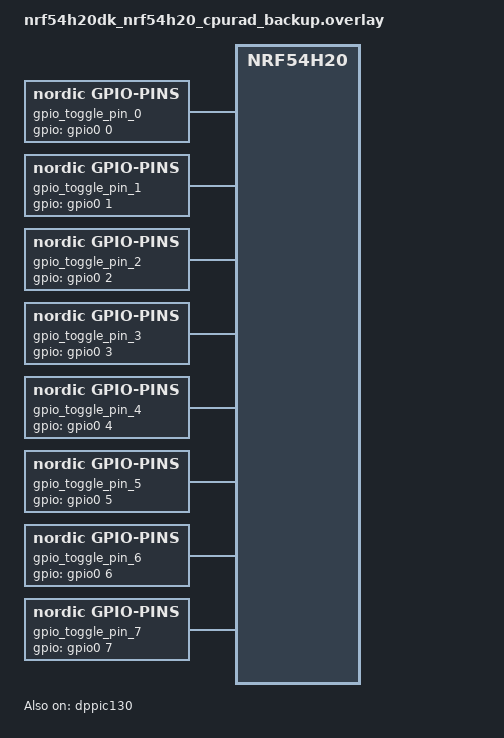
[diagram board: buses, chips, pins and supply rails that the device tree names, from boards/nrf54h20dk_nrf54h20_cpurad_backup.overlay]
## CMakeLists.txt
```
#
# Copyright (c) 2023 Nordic Semiconductor
#
# SPDX-License-Identifier: LicenseRef-Nordic-5-Clause
#

cmake_minimum_required(VERSION 3.20.0)

find_package(Zephyr REQUIRED HINTS $ENV{ZEPHYR_BASE})
project(ipc_radio)

target_include_directories(app PRIVATE ./src)

target_sources_ifdef(CONFIG_IPC_RADIO_802154 app PRIVATE src/802154.c)

if(CONFIG_IPC_RADIO_BT_HCI_IPC)
  target_sources(app PRIVATE src/bt_hci_ipc.c)

  # The fault injection hook is kept with the test that uses it so that it cannot end up in
  # a production image by accident.
  target_sources_ifdef(CONFIG_IPC_RADIO_FATAL_ERROR_TEST_HOOK app PRIVATE
    ${ZEPHYR_NRF_MODULE_DIR}/tests/bluetooth/hci_vs_fatal_error/src/fatal_error_test_hook.c
  )
  target_include_directories_ifdef(CONFIG_IPC_RADIO_FATAL_ERROR_TEST_HOOK app PRIVATE
    ${ZEPHYR_NRF_MODULE_DIR}/tests/bluetooth/hci_vs_fatal_error/src
  )
else()
  target_sources(app PRIVATE src/bt_empty.c)
endif()

# NORDIC SDK APP START
target_sources(app PRIVATE
  src/main.c
)
# NORDIC SDK APP END
```

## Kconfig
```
#
# Copyright (c) 2023 Nordic Semiconductor
#
# SPDX-License-Identifier: LicenseRef-Nordic-5-Clause
#

mainmenu "Nordic ipc_radio firmware"

config IPC_RADIO_802154
	bool "IPC IEEE 802.15.4 radio"
	select NRF_802154_SER_RADIO
	help
	  Enable the IPC IEEE 802.15.4 radio serialization.

config IPC_RADIO_BT
	bool "IPC Bluetooth"
	help
	  Enable the IPC Bluetooth radio serialization.

if IPC_RADIO_BT

choice IPC_RADIO_BT_SER
	default IPC_RADIO_BT_HCI_IPC
	prompt "Bluetooth serialization type"
	help
	  Type of the IPC Bluetooth radio serialization used.

config IPC_RADIO_BT_HCI_IPC
	bool "Bluetooth HCI serialization"
	depends on IPC_SERVICE
	depends on IPC_SERVICE_BACKEND_ICBMSG || IPC_SERVICE_BACKEND_RPMSG
	depends on BT_HCI_RAW
	help
	  Use Bluetooth HCI serialization over ipc_service.

config IPC_RADIO_BT_RPC
	bool "Bluetooth host API serialization over RPC"
	depends on BT_RPC_HOST
	help
	  Use nRF RPC serialization for Bluetooth.

endchoice # IPC_RADIO_BT_SER

if IPC_RADIO_BT_HCI_IPC

config QUEUE_THREAD_STACK_SIZE
	int "Queue thread stack size"
	default 512
	help
	  Stack size for the queue thread.

config QUEUE_THREAD_PRIO
	int "Queue thread priority"
	default 7
	help
	  Priority for the queue thread.

config IPC_RADIO_FATAL_ERROR_TEST_HOOK
	bool "Fatal error test hook"
	depends on IRQ_OFFLOAD
	help
	  Implement a Vendor Specific HCI command that raises a fatal error in the requested
	  execution context. It is meant for the tests of the fatal error reporting and must
	  never be enabled in a production image. Raising the fatal error from an interrupt
	  context relies on irq_offload(), so the image also has to be marked as a test with
	  the TEST Kconfig option.

if IPC_RADIO_FATAL_ERROR_TEST_HOOK

config IPC_RADIO_FATAL_ERROR_TEST_HOOK_ZLI
	bool "Fatal error test hook zero latency interrupt context"
	default y
	depends on ZERO_LATENCY_IRQS
	depends on SOC_COMPATIBLE_NRF53X || SOC_SERIES_NRF54H
	help
	  Allow injecting the fatal error from a zero-latency interrupt context.

config IPC_RADIO_FATAL_ERROR_TEST_HOOK_ZLI_IRQN
	int "Zero latency interrupt line used by the fatal error test hook"
	depends on IPC_RADIO_FATAL_ERROR_TEST_HOOK_ZLI
	default 27 if SOC_COMPATIBLE_NRF53X # SWI1
	default 89 if SOC_SERIES_NRF54H # SWI1
	help
	  Software interrupt line used to raise the fatal error from a zero-latency interrupt
	  context. It must not be used by any other component, in particular not by the
	  MPSL_LOW_PRIO_IRQN interrupt line.

endif # IPC_RADIO_FATAL_ERROR_TEST_HOOK

endif # IPC_RADIO_BT_HCI_IPC

config SETTINGS
	imply ZMS if SOC_FLASH_NRF_MRAM
	imply NVS if !SOC_FLASH_NRF_MRAM

config BT_MAX_CONN
	default 4 if IPC_RADIO_802154
	default 16 if !IPC_RADIO_802154

endif # IPC_RADIO_BT

module = IPC_RADIO
module-str = "ipc_radio"
source "$(ZEPHYR_BASE)/subsys/logging/Kconfig.template.log_config"

source "Kconfig.zephyr"
```

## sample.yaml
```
sample:
  name: IPC radio firmware
  description: IPC radio firmware application
tests:
  applications.ipc_radio.hci:
    sysbuild: true
    build_only: true
    platform_allow:
      - nrf5340dk/nrf5340/cpunet
      - thingy53/nrf5340/cpunet
    tags:
      - bluetooth
      - ci_build
      - sysbuild
      - ci_applications_ipc_radio
    integration_platforms:
      - nrf5340dk/nrf5340/cpunet
      - thingy53/nrf5340/cpunet
    extra_args: EXTRA_CONF_FILE=bt_hci_ipc.conf
  applications.ipc_radio.hci.sysbuild:
    sysbuild: true
    build_only: true
    platform_allow:
      - nrf5340dk/nrf5340/cpunet
      - thingy53/nrf5340/cpunet
    tags:
      - bluetooth
      - ci_build
      - ci_applications_ipc_radio
    integration_platforms:
      - nrf5340dk/nrf5340/cpunet
      - thingy53/nrf5340/cpunet
    extra_args: EXTRA_CONF_FILE=bt_hci_ipc.conf
  applications.ipc_radio.hci.nrf54h.sysbuild:
    sysbuild: true
    build_only: true
    platform_allow: nrf54h20dk/nrf54h20/cpurad
    tags:
      - bluetooth
      - ci_build
      - ci_applications_ipc_radio
    integration_platforms:
      - nrf54h20dk/nrf54h20/cpurad
    extra_args: EXTRA_CONF_FILE=bt_hci_ipc.conf
  applications.ipc_radio.rpc:
    sysbuild: true
    build_only: true
    platform_allow:
      - nrf5340dk/nrf5340/cpunet
      - thingy53/nrf5340/cpunet
    tags:
      - bluetooth
      - ci_build
      - sysbuild
      - ci_applications_ipc_radio
    integration_platforms:
      - nrf5340dk/nrf5340/cpunet
      - thingy53/nrf5340/cpunet
    extra_args: EXTRA_CONF_FILE=bt_rpc.conf
  applications.ipc_radio.rpc.sysbuild:
    sysbuild: true
    build_only: true
    platform_allow:
      - nrf5340dk/nrf5340/cpunet
      - thingy53/nrf5340/cpunet
    tags:
      - bluetooth
      - ci_build
      - ci_applications_ipc_radio
    integration_platforms:
      - nrf5340dk/nrf5340/cpunet
      - thingy53/nrf5340/cpunet
    extra_args: EXTRA_CONF_FILE=bt_rpc.conf
  applications.ipc_radio.rpc.nrf54h.sysbuild:
    sysbuild: true
    build_only: true
    platform_allow: nrf54h20dk/nrf54h20/cpurad
    tags:
      - bluetooth
      - ci_build
      - ci_applications_ipc_radio
    integration_platforms:
      - nrf54h20dk/nrf54h20/cpurad
    extra_args: EXTRA_CONF_FILE=bt_rpc.conf
  applications.ipc_radio.802154:
    sysbuild: true
    build_only: true
    platform_allow:
      - nrf5340dk/nrf5340/cpunet
      - thingy53/nrf5340/cpunet
    tags:
      - ci_build
      - sysbuild
      - ci_applications_ipc_radio
    integration_platforms:
      - nrf5340dk/nrf5340/cpunet
      - thingy53/nrf5340/cpunet
    extra_args: EXTRA_CONF_FILE=802154.conf
  applications.ipc_radio.802154.sysbuild:
    sysbuild: true
    build_only: true
    platform_allow:
      - nrf5340dk/nrf5340/cpunet
      - thingy53/nrf5340/cpunet
    tags:
      - ci_build
      - ci_applications_ipc_radio
    integration_platforms:
      - nrf5340dk/nrf5340/cpunet
      - thingy53/nrf5340/cpunet
    extra_args: EXTRA_CONF_FILE=802154.conf
  applications.ipc_radio.hci802154:
    sysbuild: true
    build_only: true
    platform_allow:
      - nrf5340dk/nrf5340/cpunet
      - thingy53/nrf5340/cpunet
    tags:
      - bluetooth
      - ci_build
      - sysbuild
      - ci_applications_ipc_radio
    integration_platforms:
      - nrf5340dk/nrf5340/cpunet
      - thingy53/nrf5340/cpunet
    extra_args: EXTRA_CONF_FILE="bt_hci_ipc.conf;802154.conf"
  applications.ipc_radio.hci802154.sysbuild:
    sysbuild: true
    build_only: true
    platform_allow:
      - nrf5340dk/nrf5340/cpunet
      - thingy53/nrf5340/cpunet
    tags:
      - bluetooth
      - ci_build
      - ci_applications_ipc_radio
    integration_platforms:
      - nrf5340dk/nrf5340/cpunet
      - thingy53/nrf5340/cpunet
    extra_args: EXTRA_CONF_FILE="bt_hci_ipc.conf;802154.conf"
```

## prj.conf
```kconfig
#
# Copyright (c) 2023 Nordic Semiconductor
#
# SPDX-License-Identifier: LicenseRef-Nordic-5-Clause
#

CONFIG_SERIAL=n
CONFIG_UART_CONSOLE=n
CONFIG_LOG=n
CONFIG_TIMESLICE_SIZE=0

# Enable old clock_control_nrf api implementation for mpsl to use
CONFIG_CLOCK_CONTROL_NRF=y
```

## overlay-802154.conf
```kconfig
#
# Copyright (c) 2023 Nordic Semiconductor
#
# SPDX-License-Identifier: LicenseRef-Nordic-5-Clause
#

CONFIG_NRF_802154_SER_RADIO=y
CONFIG_NRF_RTC_TIMER_USER_CHAN_COUNT=2

CONFIG_IPC_RADIO_802154=y
```

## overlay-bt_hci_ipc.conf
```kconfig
#
# Copyright (c) 2023 Nordic Semiconductor
#
# SPDX-License-Identifier: LicenseRef-Nordic-5-Clause
#

CONFIG_HEAP_MEM_POOL_SIZE=8192
CONFIG_MAIN_STACK_SIZE=2048
CONFIG_SYSTEM_WORKQUEUE_STACK_SIZE=2048

CONFIG_MBOX=y
CONFIG_IPC_SERVICE=y

CONFIG_BT=y
CONFIG_BT_HCI_RAW=y
CONFIG_BT_CTLR_ASSERT_HANDLER=y

CONFIG_ASSERT=y

CONFIG_IPC_RADIO_BT=y
CONFIG_IPC_RADIO_BT_HCI_IPC=y
```

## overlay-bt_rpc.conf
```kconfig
#
# Copyright (c) 2023 Nordic Semiconductor
#
# SPDX-License-Identifier: LicenseRef-Nordic-5-Clause
#

CONFIG_HEAP_MEM_POOL_SIZE=4096
CONFIG_NRF_RPC_THREAD_STACK_SIZE=4096
CONFIG_SYSTEM_WORKQUEUE_STACK_SIZE=4096

CONFIG_BT=y
CONFIG_BT_RPC=y
CONFIG_BT_RPC_HOST=y

# Host side registers all GATT services using dynamic database
CONFIG_BT_GATT_DYNAMIC_DB=y

# Enable bonding
CONFIG_BT_SMP=y
CONFIG_BT_SETTINGS=y
CONFIG_FLASH=y
CONFIG_FLASH_PAGE_LAYOUT=y
CONFIG_FLASH_MAP=y
CONFIG_SETTINGS=y

CONFIG_IPC_RADIO_BT=y
CONFIG_IPC_RADIO_BT_RPC=y
```

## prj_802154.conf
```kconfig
#
# Copyright (c) 2024 Nordic Semiconductor
#
# SPDX-License-Identifier: LicenseRef-Nordic-5-Clause
#

CONFIG_SERIAL=n
CONFIG_UART_CONSOLE=n
CONFIG_LOG=n

CONFIG_NRF_802154_SER_RADIO=y
CONFIG_NRF_RTC_TIMER_USER_CHAN_COUNT=2

CONFIG_IPC_RADIO_802154=y
```

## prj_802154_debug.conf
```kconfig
#
# Copyright (c) 2024 Nordic Semiconductor
#
# SPDX-License-Identifier: LicenseRef-Nordic-5-Clause
#

CONFIG_SERIAL=y
CONFIG_UART_CONSOLE=y
CONFIG_LOG=y

CONFIG_ASSERT=y
CONFIG_DEBUG_INFO=y
CONFIG_EXCEPTION_STACK_TRACE=y

CONFIG_NRF_802154_SER_RADIO=y
CONFIG_NRF_RTC_TIMER_USER_CHAN_COUNT=2

CONFIG_IPC_RADIO_802154=y
```

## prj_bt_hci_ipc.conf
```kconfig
#
# Copyright (c) 2024 Nordic Semiconductor
#
# SPDX-License-Identifier: LicenseRef-Nordic-5-Clause
#

# After any changes in this file update the prj.conf file with identical changes.

CONFIG_HEAP_MEM_POOL_SIZE=8192
CONFIG_MAIN_STACK_SIZE=512
CONFIG_SYSTEM_WORKQUEUE_STACK_SIZE=512

CONFIG_SERIAL=n
CONFIG_UART_CONSOLE=n
CONFIG_LOG=n

CONFIG_MBOX=y
CONFIG_IPC_SERVICE=y

CONFIG_BT=y
CONFIG_BT_HCI_RAW=y
CONFIG_BT_MAX_CONN=16
CONFIG_BT_CTLR_ASSERT_HANDLER=y

CONFIG_IPC_RADIO_BT=y
CONFIG_IPC_RADIO_BT_HCI_IPC=y
```

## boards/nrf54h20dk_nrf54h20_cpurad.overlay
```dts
/*
 * Copyright (c) 2025 Nordic Semiconductor ASA
 *
 * SPDX-License-Identifier: LicenseRef-Nordic-5-Clause
 */

&lfclk {
	status = "okay";
};
```

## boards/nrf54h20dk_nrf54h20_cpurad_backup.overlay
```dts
/* Use dummy GPIO pins entries to allocate the pins to Radio domain.
 *
 * Note: this allocation has to mach to DBPX_PIN macros.
 */
 / {
	gpio_toggle_pin_0: gpio-toggle-pin-0 {
		compatible = "nordic,gpio-pins";
		gpios = <&gpio0 0 GPIO_ACTIVE_HIGH>;
		status = "okay";
	};

	gpio_toggle_pin_1: gpio-toggle-pin-1 {
		compatible = "nordic,gpio-pins";
		gpios = <&gpio0 1 GPIO_ACTIVE_HIGH>;
		status = "okay";
	};

	gpio_toggle_pin_2: gpio-toggle-pin-2 {
		compatible = "nordic,gpio-pins";
		gpios = <&gpio0 2 GPIO_ACTIVE_HIGH>;
		status = "okay";
	};

	gpio_toggle_pin_3: gpio-toggle-pin-3 {
		compatible = "nordic,gpio-pins";
		gpios = <&gpio0 3 GPIO_ACTIVE_HIGH>;
		status = "okay";
	};

	gpio_toggle_pin_4: gpio-toggle-pin-4 {
		compatible = "nordic,gpio-pins";
		gpios = <&gpio0 4 GPIO_ACTIVE_HIGH>;
		status = "okay";
	};

	gpio_toggle_pin_5: gpio-toggle-pin-5 {
		compatible = "nordic,gpio-pins";
		gpios = <&gpio0 5 GPIO_ACTIVE_HIGH>;
		status = "okay";
	};

	gpio_toggle_pin_6: gpio-toggle-pin-6 {
		compatible = "nordic,gpio-pins";
		gpios = <&gpio0 6 GPIO_ACTIVE_HIGH>;
		status = "okay";
	};

	gpio_toggle_pin_7: gpio-toggle-pin-7 {
		compatible = "nordic,gpio-pins";
		gpios = <&gpio0 7 GPIO_ACTIVE_HIGH>;
		status = "okay";
	};

	// gpio_toggle_pin_8: gpio-toggle-pin-8 {
	// 	compatible = "nordic,gpio-pins";
	// 	gpios = <&gpio1 1 GPIO_ACTIVE_HIGH>;
	// 	status = "okay";
	// };

	// gpio_toggle_pin_9: gpio-toggle-pin-9 {
	// 	compatible = "nordic,gpio-pins";
	// 	gpios = <&gpio1 2 GPIO_ACTIVE_HIGH>;
	// 	status = "okay";
	// };

	// gpio_toggle_pin_10: gpio-toggle-pin-10 {
	// 	compatible = "nordic,gpio-pins";
	// 	gpios = <&gpio1 3 GPIO_ACTIVE_HIGH>;
	// 	status = "okay";
	// };

	// gpio_toggle_pin_11: gpio-toggle-pin-11 {
	// 	compatible = "nordic,gpio-pins";
	// 	gpios = <&gpio1 7 GPIO_ACTIVE_HIGH>;
	// 	status = "okay";
	// };

	// gpio_toggle_pin_12: gpio-toggle-pin-12 {
	// 	compatible = "nordic,gpio-pins";
	// 	gpios = <&gpio1 8 GPIO_ACTIVE_HIGH>;
	// 	status = "okay";
	// };

	// gpio_toggle_pin_13: gpio-toggle-pin-13 {
	// 	compatible = "nordic,gpio-pins";
	// 	gpios = <&gpio1 9 GPIO_ACTIVE_HIGH>;
	// 	status = "okay";
	// };

	// gpio_toggle_pin_14: gpio-toggle-pin-14 {
	// 	compatible = "nordic,gpio-pins";
	// 	gpios = <&gpio1 10 GPIO_ACTIVE_HIGH>;
	// 	status = "okay";
	// };

	// gpio_toggle_pin_15: gpio-toggle-pin-15 {
	// 	compatible = "nordic,gpio-pins";
	// 	gpios = <&gpio1 11 GPIO_ACTIVE_HIGH>;
	// 	status = "okay";
	// };
};

&dppic130 {
	owned-channels = <0 1 2 3>;
	owned-channel-groups = <0 1>;
	status = "okay";
};

/* IPCT130 in Global domain and IPCT in Radio domain are used to create IPCTMAP entry.
 * That means channels: source and sink create pairs that are applied by Secure Domain FW on boot.
 * These entries has to be provided to pin_transport_debug by calls: debug_allow_ipct_channel
 * and debug_allow_global_channel.
 *
 * Note: Channel 0 in IPCT in Radio domai is used by GRTC to deliver the GRTC events to Radio
 *       domain. It is setup as sink-channel-link in common NCS DTS file.
 */
&cpurad_ipct {
	source-channel-links = <1 13 1
				2 13 2
				3 13 3>;
};

/* Note: IPCT130 in Global domain channel 0 is used by GRTC to deliver the GRTC events to Radio
 *       domain. It is setup as source-channel-link in common NCS DTS file.
 */
&ipct130 {
	status = "okay";
	owned-channels = <0 1 2 3>;
	sink-channel-links = <1 3 1
			      2 3 2
			      3 3 3>;
};

/* Example of GPIOTE channels allocation for Radio core.
 *
 * Note: By default all GPIOTE130 channels are allocated to APP Core.
 *       To use some of them in Radio domain you have to change the allocation
 *       in APP core DTS file.
 */
&gpiote130 {
	status = "okay";
	owned-channels = <0 1 2 3>;
};

&uart135 {
	status = "disabled";
};
```

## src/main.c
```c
/*
 * Copyright (c) 2023 Nordic Semiconductor ASA
 *
 * SPDX-License-Identifier: LicenseRef-Nordic-5-Clause
 */

#include <errno.h>
#include <zephyr/kernel.h>
#include <zephyr/logging/log.h>

#include "ipc_bt.h"

LOG_MODULE_REGISTER(ipc_radio, CONFIG_IPC_RADIO_LOG_LEVEL);

#if !(CONFIG_IPC_RADIO_802154 || CONFIG_IPC_RADIO_BT)
#error "No radio serialization selected."
#endif

int main(void)
{
	int err;

	err = ipc_bt_init();
	if ((err) && (err != -ENOSYS)) {
		LOG_ERR("Error initializing ipc radio %d", err);
		return err;
	}

#if IS_ENABLED(CONFIG_SERIAL)
	printk("IPC initialized\n");
#endif
	for (;;) {
		err = ipc_bt_process();

		if (err == -ENOSYS) {
			/* Particular implementation does not need the process function */
			return 0;
		} else if (err) {
			LOG_ERR("Error processing ipc radio %d", err);

			return err;
		}

#if IS_ENABLED(CONFIG_SERIAL)
		printk("IPC loop\n");
#endif
	}
}
```

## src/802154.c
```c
/*
 * Copyright (c) 2023 Nordic Semiconductor ASA
 *
 * SPDX-License-Identifier: LicenseRef-Nordic-5-Clause
 */

#include <stddef.h>
#include <zephyr/kernel.h>
#include <nrf_802154_serialization_error.h>

void nrf_802154_serialization_error(const nrf_802154_ser_err_data_t *err)
{
	ARG_UNUSED(err);
	__ASSERT(false, "802.15.4 serialization error");
	k_oops();
}

void nrf_802154_sl_fault_handler(uint32_t id, int32_t line, const char *err)
{
	__ASSERT(false, "module_id: %u, line: %d, %s", id, line, err);
	k_oops();
}
```

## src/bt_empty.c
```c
/*
 * Copyright (c) 2023 Nordic Semiconductor ASA
 *
 * SPDX-License-Identifier: LicenseRef-Nordic-5-Clause
 */

#include <errno.h>
#include <zephyr/logging/log.h>

#include "ipc_bt.h"

LOG_MODULE_DECLARE(ipc_radio, CONFIG_IPC_RADIO_LOG_LEVEL);

int ipc_bt_init(void)
{
	LOG_DBG("Empty ipc_bt_init called.");
	return -ENOSYS;
}

int ipc_bt_process(void)
{
	LOG_DBG("Empty ipc_bt_process called.");
	return -ENOSYS;
}
```

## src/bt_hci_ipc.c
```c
/*
 * Copyright (c) 2023 Nordic Semiconductor ASA
 *
 * SPDX-License-Identifier: LicenseRef-Nordic-5-Clause
 */

#include <errno.h>
#include <stddef.h>
#include <stdio.h>

#include <zephyr/kernel.h>
#include <zephyr/device.h>

#include <zephyr/sys/byteorder.h>
#include <zephyr/sys/util.h>
#include <zephyr/net_buf.h>

#include <zephyr/bluetooth/bluetooth.h>
#include <zephyr/bluetooth/l2cap.h>
#include <zephyr/bluetooth/hci.h>
#include <zephyr/bluetooth/buf.h>
#include <zephyr/bluetooth/hci_raw.h>

#include <zephyr/ipc/ipc_service.h>

#if defined(CONFIG_BT_HCI_VS_FATAL_ERROR)
#include <zephyr/logging/log_ctrl.h>
#endif /* CONFIG_BT_HCI_VS_FATAL_ERROR */

#include <zephyr/logging/log.h>

#include "ipc_bt.h"

#if DT_NODE_HAS_COMPAT(DT_CHOSEN(zephyr_bt_hci_ipc), zephyr_ipc_openamp_static_vrings)
#include <openamp/rpmsg_virtio.h>
#define IPC_BUF_SIZE DT_PROP_OR(DT_CHOSEN(zephyr_bt_hci_ipc), zephyr_buffer_size, RPMSG_BUFFER_SIZE)
#define IPC_MEM_SIZE (DT_REG_SIZE(DT_PHANDLE(DT_CHOSEN(zephyr_bt_hci_ipc), memory_region)) / 2)
#define MAX_IPC_BLOCKS DIV_ROUND_UP(IPC_MEM_SIZE, IPC_BUF_SIZE)
#elif DT_NODE_HAS_COMPAT(DT_CHOSEN(zephyr_bt_hci_ipc), zephyr_ipc_icbmsg)
#define MAX_IPC_BLOCKS DT_PROP(DT_CHOSEN(zephyr_bt_hci_ipc), rx_blocks)
#else
#error "IPC backends other than rpmsg or icbmsg are not supported."
#endif

LOG_MODULE_DECLARE(ipc_radio, CONFIG_IPC_RADIO_LOG_LEVEL);

#if defined(CONFIG_BT_CTLR_ASSERT_HANDLER) || defined(CONFIG_BT_HCI_VS_FATAL_ERROR)
static bool ipc_ept_ready;
#endif /* CONFIG_BT_CTLR_ASSERT_HANDLER || CONFIG_BT_HCI_VS_FATAL_ERROR */

static K_SEM_DEFINE(ipc_bound_sem, 0, 1);

static const struct device *m_hci_ipc_instance;

static struct ipc_ept hci_ept;

#if defined(CONFIG_IPC_SERVICE_BACKEND_ICBMSG_DEINIT)
static void hci_unbound_work_handler(struct k_work *work);
static int ipc_hci_ipc_rebind(void);

static K_WORK_DEFINE(m_hci_unbound_work, hci_unbound_work_handler);
#endif /* CONFIG_IPC_SERVICE_BACKEND_ICBMSG_DEINIT */

struct ipc_block_item {
	const void *ptr;
	size_t len;
};

K_MSGQ_DEFINE(ipc_block_queue, sizeof(struct ipc_block_item), MAX_IPC_BLOCKS, sizeof(void *));

static K_FIFO_DEFINE(tx_queue);
static K_FIFO_DEFINE(rx_queue);

enum hci_h4_type {
	HCI_H4_CMD = 0x01, /* rx */
	HCI_H4_ACL = 0x02, /* rx */
	HCI_H4_EVT = 0x04, /* tx */
	HCI_H4_ISO = 0x05  /* rx */
};

#define HCI_FATAL_MSG true
#define HCI_REGULAR_MSG false

static struct net_buf *recv_cmd(const uint8_t *data, size_t len)
{
	const struct bt_hci_cmd_hdr *hdr = (const struct bt_hci_cmd_hdr *)data;
	struct net_buf *buf;

	if (len < sizeof(*hdr)) {
		LOG_ERR("Not enough data for command header.");
		return NULL;
	}

	if ((len - sizeof(*hdr)) != hdr->param_len) {
		LOG_ERR("Command param_len does not match the remaining data length.");
		return NULL;
	}

	buf = bt_buf_get_tx(BT_BUF_CMD, K_FOREVER, hdr, sizeof(*hdr));
	data += sizeof(*hdr);
	len -= sizeof(*hdr);

	if (len > net_buf_tailroom(buf)) {
		LOG_ERR("Not enough space in buffer.");
		net_buf_unref(buf);
		return NULL;
	}

	LOG_DBG("Received HCI CMD packet (opcode: %#x, len: %u).",
						sys_le16_to_cpu(hdr->opcode), hdr->param_len);

	net_buf_add_mem(buf, data, len);
	return buf;
}

static struct net_buf *recv_acl(const uint8_t *data, size_t len)
{
	const struct bt_hci_acl_hdr *hdr = (const struct bt_hci_acl_hdr *)data;
	struct net_buf *buf;

	if (len < sizeof(*hdr)) {
		LOG_ERR("Not enough data for ACL header.");
		return NULL;
	}

	if ((len - sizeof(*hdr)) != sys_le16_to_cpu(hdr->len)) {
		LOG_ERR("ACL payload length does not match the remaining data length.");
		return NULL;
	}

	buf = bt_buf_get_tx(BT_BUF_ACL_OUT, K_FOREVER, hdr, sizeof(*hdr));
	data += sizeof(*hdr);
	len -= sizeof(*hdr);

	if (len > net_buf_tailroom(buf)) {
		LOG_ERR("Not enough space in buffer.");
		net_buf_unref(buf);
		return NULL;
	}

	LOG_DBG("Received HCI ACL packet (handle: %u, len: %u).",
					sys_le16_to_cpu(hdr->handle), sys_le16_to_cpu(hdr->len));

	net_buf_add_mem(buf, data, len);
	return buf;
}

static struct net_buf *recv_iso(const uint8_t *data, size_t len)
{
	const struct bt_hci_iso_hdr *hdr = (const struct bt_hci_iso_hdr *)data;
	struct net_buf *buf;

	if (len < sizeof(*hdr)) {
		LOG_ERR("Not enough data for ISO header.");
		return NULL;
	}

	if ((len - sizeof(*hdr)) != bt_iso_hdr_len(sys_le16_to_cpu(hdr->len))) {
		LOG_ERR("ISO payload length does not match the remaining data length.");
		return NULL;
	}

	buf = bt_buf_get_tx(BT_BUF_ISO_OUT, K_FOREVER, hdr, sizeof(*hdr));
	data += sizeof(*hdr);
	len -= sizeof(*hdr);

	if (len > net_buf_tailroom(buf)) {
		LOG_ERR("Not enough space in buffer.");
		net_buf_unref(buf);
		return NULL;
	}

	LOG_DBG("Received HCI ISO packet (handle: %u, len: %u).",
					sys_le16_to_cpu(hdr->handle), sys_le16_to_cpu(hdr->len));

	net_buf_add_mem(buf, data, len);
	return buf;
}

static void send(struct net_buf *buf, bool is_fatal_err)
{
	uint8_t retries = 0;
	int ret;

	LOG_DBG("buf %p type %u len %u", buf, buf->data[0], buf->len);
	LOG_HEXDUMP_DBG(buf->data, buf->len, "Controller buffer:");

	do {
		ret = ipc_service_send(&hci_ept, buf->data, buf->len);
		if (ret < 0) {
			retries++;
			if (retries > 10) {
				LOG_WRN("IPC send has been blocked during 10 retires.");
				retries = 0;
			}

			if (is_fatal_err) {
				LOG_ERR("IPC service send error: %d", ret);
			} else {
				k_yield();
			}
		}
	} while (ret < 0);

	LOG_INF("Sent message of %d bytes.", ret);

	net_buf_unref(buf);
}

static void bound(void *priv)
{
#if defined(CONFIG_BT_CTLR_ASSERT_HANDLER) || defined(CONFIG_BT_HCI_VS_FATAL_ERROR)
	ipc_ept_ready = true;
#endif /* CONFIG_BT_CTLR_ASSERT_HANDLER || CONFIG_BT_HCI_VS_FATAL_ERROR */

	k_sem_give(&ipc_bound_sem);
}

#if defined(CONFIG_IPC_SERVICE_BACKEND_ICBMSG_DEINIT)
static void hci_ep_unbound(void *priv)
{
	ARG_UNUSED(priv);

#if defined(CONFIG_BT_CTLR_ASSERT_HANDLER) || defined(CONFIG_BT_HCI_VS_FATAL_ERROR)
	ipc_ept_ready = false;
#endif /* CONFIG_BT_CTLR_ASSERT_HANDLER || CONFIG_BT_HCI_VS_FATAL_ERROR */

	(void)k_work_submit(&m_hci_unbound_work);
}

static void hci_unbound_work_handler(struct k_work *work)
{
	ARG_UNUSED(work);

	(void)ipc_hci_ipc_rebind();
}
#endif /* CONFIG_IPC_SERVICE_BACKEND_ICBMSG_DEINIT */

static void recv(const void *data, size_t len, void *priv)
{
	struct ipc_block_item block;
	int err;

	LOG_INF("Received hci message of %u bytes.", len);
	LOG_HEXDUMP_DBG(data, len, "HCI data:");

	block.ptr = data;
	block.len = len;

	err = ipc_service_hold_rx_buffer(&hci_ept, (void *)data);
	if (err) {
		LOG_ERR("Failed to hold rx buffer: %d.", err);
	}

	err = k_msgq_put(&ipc_block_queue, &block, K_NO_WAIT);
	__ASSERT(err == 0, "Failed to put data into msgq: %d.", err);
}

static void queue_thread(void)
{
	struct ipc_block_item block;
	struct net_buf *buf;
	const uint8_t *tmp;
	enum hci_h4_type type;
	int err;

	while (1) {
		err = k_msgq_get(&ipc_block_queue, &block, K_FOREVER);
		__ASSERT(err == 0, "Failed to get data from msgq: %d.", err);

		tmp = (const uint8_t *)block.ptr;
		type = (enum hci_h4_type)*tmp++;
		block.len -= sizeof(type);

		switch (type) {
		case HCI_H4_CMD:
			buf = recv_cmd(tmp, block.len);
			break;

		case HCI_H4_ACL:
			buf = recv_acl(tmp, block.len);
			break;

		case HCI_H4_ISO:
			buf = recv_iso(tmp, block.len);
			break;

		default:
			LOG_ERR("Unknown HCI type %u.", type);
			buf = NULL;
			break;
		}

		err = ipc_service_release_rx_buffer(&hci_ept, (void *)block.ptr);
		if (err < 0) {
			LOG_ERR("Failed to release rx buffer: %d.", err);
		} else {
			LOG_DBG("Released rx buffer with ret %d.", err);
		}

		if (buf) {
			k_fifo_put(&tx_queue, buf);
		}
	}
}

K_THREAD_DEFINE(queue_thread_id, CONFIG_QUEUE_THREAD_STACK_SIZE, queue_thread,
		NULL, NULL, NULL,
		CONFIG_QUEUE_THREAD_PRIO, 0, 0);

static void tx_thread(void)
{
	struct net_buf *buf;
	int err;

	while (1) {
		buf = k_fifo_get(&tx_queue, K_FOREVER);
		err = bt_send(buf);
		if (err) {
			LOG_ERR("bt_send failed err: %d.", err);
			net_buf_unref(buf);
		}

		k_yield();
	}
}

K_THREAD_DEFINE(tx_thread_id, CONFIG_BT_HCI_TX_STACK_SIZE, tx_thread,
		NULL, NULL, NULL,
		CONFIG_BT_HCI_TX_PRIO, 0, 0);

static struct ipc_ept_cfg hci_ept_cfg = {
	.name = "nrf_bt_hci",
	.cb = {
		.bound    = bound,
#if defined(CONFIG_IPC_SERVICE_BACKEND_ICBMSG_DEINIT)
		.unbound  = hci_ep_unbound,
#endif
		.received = recv,
	},
};

#if defined(CONFIG_IPC_SERVICE_BACKEND_ICBMSG_DEINIT)
static int ipc_hci_ipc_rebind(void)
{
	int err;

	err = ipc_service_close_instance(m_hci_ipc_instance);
	if (err) {
		LOG_ERR("IPC instance close failed: %d", err);
		return err;
	}

	err = ipc_service_open_instance(m_hci_ipc_instance);
	if (err && (err != -EALREADY)) {
		LOG_ERR("IPC instance open failed: %d", err);
		return err;
	}

	err = ipc_service_register_endpoint(m_hci_ipc_instance, &hci_ept, &hci_ept_cfg);
	if (err) {
		LOG_ERR("IPC endpoint register failed: %d", err);
		return err;
	}

	LOG_INF("HCI IPC re-bound after host unbound");
	return 0;
}
#endif /* CONFIG_IPC_SERVICE_BACKEND_ICBMSG_DEINIT */

#if defined(CONFIG_BT_CTLR_ASSERT_HANDLER)
__weak void bt_ctlr_assert_handle(char *file, uint32_t line)
{
	(void)irq_lock();

	LOG_ERR("HCI Fatal error in: %s at %d.", file, line);

#if defined(CONFIG_BT_HCI_VS_FATAL_ERROR)
	if (ipc_ept_ready) {
		struct net_buf *buf;

		buf = hci_vs_err_assert(file, line);
		if (!buf) {
			send(buf, HCI_FATAL_MSG);
		} else {
			LOG_ERR("Can't send Fatal Error HCI event.");
		}
	} else {
		LOG_ERR("HCI Fatal error before IPC endpoint is ready.");
	}

#else /* !CONFIG_BT_HCI_VS_FATAL_ERROR */
	LOG_ERR("Controller assert in: %s at %d.", file, line);

#endif /* !CONFIG_BT_HCI_VS_FATAL_ERROR */

	for (;;) {
	};
}
#endif /* CONFIG_BT_CTLR_ASSERT_HANDLER */

#if defined(CONFIG_BT_HCI_VS_FATAL_ERROR)
void k_sys_fatal_error_handler(unsigned int reason, const struct arch_esf *esf)
{
	LOG_PANIC();

	(void)irq_lock();

	if ((!esf) && (ipc_ept_ready)) {
		struct net_buf *buf;

		buf = hci_vs_err_stack_frame(reason, esf);
		if (!buf) {
			send(buf, HCI_FATAL_MSG);
		} else {
			LOG_ERR("Can't create Fatal Error HCI event.");
		}
	}

	for (;;) {
	};

	CODE_UNREACHABLE;
}
#endif /* CONFIG_BT_HCI_VS_FATAL_ERROR */

int ipc_bt_init(void)
{
	int err;

	m_hci_ipc_instance = DEVICE_DT_GET(DT_CHOSEN(zephyr_bt_hci_ipc));

	LOG_INF("Initializing ipc_radio bt_hci.");

	err = bt_enable_raw(&rx_queue);
	if (err) {
		LOG_ERR("bt_enable_raw failed: %d.", err);
		return err;
	}

	err = ipc_service_open_instance(m_hci_ipc_instance);
	if ((err < 0) && (err != -EALREADY)) {
		LOG_ERR("IPC service instance initialization failed: %d.", err);
		return err;
	}

	err = ipc_service_register_endpoint(m_hci_ipc_instance, &hci_ept, &hci_ept_cfg);
	if (err) {
		LOG_ERR("Registering endpoint failed: %d.", err);
		return err;
	}

	return 0;
}

int ipc_bt_process(void)
{
	struct net_buf *buf;

	k_sem_take(&ipc_bound_sem, K_FOREVER);

	while (1) {
		buf = k_fifo_get(&rx_queue, K_FOREVER);
		send(buf, HCI_REGULAR_MSG);
	}

	return 0;
}
```

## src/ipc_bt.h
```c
/*
 * Copyright (c) 2023 Nordic Semiconductor ASA
 *
 * SPDX-License-Identifier: LicenseRef-Nordic-5-Clause
 */

#ifndef IPC_BT_H_
#define IPC_BT_H_

#ifdef __cplusplus
extern "C" {
#endif

/** @brief Initialize the IPC Bluetooth interface.
 *
 * The function might not have any functionality if the interface
 * does not need to be initialized (or is initialized automatically).
 * When this function is not needed, it should be implemented as an empty
 * function and return -ENOSYS.
 *
 * @retval -ENOSYS The function is not implemented.
 * @return 0 in case of success or negative value in case of error.
 */
int ipc_bt_init(void);

/** @brief Give processing time to the IPC Bluetooth interface.
 *
 * The function might not have any functionality if the interface
 * does not need to be given processing time (or is processed automatically).
 * When this function is not needed, it should be implemented as an empty
 * function and return -ENOSYS.
 *
 * @retval -ENOSYS The function is not implemented.
 * @return 0 in case of success or negative value in case of error.
 */
int ipc_bt_process(void);

#ifdef __cplusplus
}
#endif

#endif /* IPC_BT_H_ */
```
